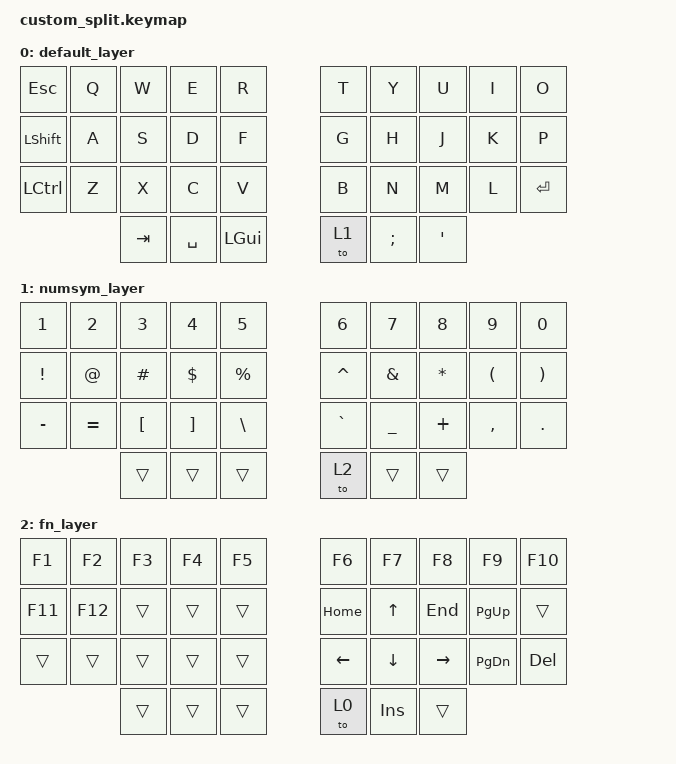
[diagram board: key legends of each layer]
#include <behaviors.dtsi>
#include <dt-bindings/zmk/keys.h>

/ {
    keymap {
        compatible = "zmk,keymap";
        default_layer {
            // Layer 0 — your base layout
            bindings = <
&kp ESC   &kp Q     &kp W     &kp E     &kp R          &kp T  &kp Y  &kp U  &kp I  &kp O
&kp LSHFT &kp A     &kp S     &kp D     &kp F          &kp G  &kp H  &kp J  &kp K  &kp P
&kp LCTRL &kp Z     &kp X     &kp C     &kp V          &kp B  &kp N  &kp M  &kp L  &kp RET
&kp TAB   &kp SPACE &kp LGUI                           &to 1  &kp SEMI &kp SQT
            >;
        };
        numsym_layer {
            // Layer 1 — Numbers & Symbols. fn here jumps to layer 2.
            bindings = <
&kp N1    &kp N2    &kp N3    &kp N4    &kp N5         &kp N6    &kp N7    &kp N8   &kp N9    &kp N0
&kp EXCL  &kp AT    &kp HASH  &kp DLLR  &kp PRCNT      &kp CARET &kp AMPS  &kp STAR &kp LPAR  &kp RPAR
&kp MINUS &kp EQUAL &kp LBKT  &kp RBKT  &kp BSLH       &kp GRAVE &kp UNDER &kp PLUS &kp COMMA &kp DOT
&trans    &trans    &trans                             &to 2     &trans    &trans
            >;
        };
        fn_layer {
            // Layer 2 — Function keys & Navigation. fn here returns to base.
            bindings = <
&kp F1  &kp F2  &kp F3  &kp F4  &kp F5         &kp F6    &kp F7   &kp F8    &kp F9   &kp F10
&kp F11 &kp F12 &trans  &trans  &trans         &kp HOME  &kp UP   &kp END   &kp PG_UP &trans
&trans  &trans  &trans  &trans  &trans         &kp LEFT  &kp DOWN &kp RIGHT &kp PG_DN &kp DEL
&trans  &trans  &trans                        &to 0     &kp INS  &trans
            >;
        };
    };
};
